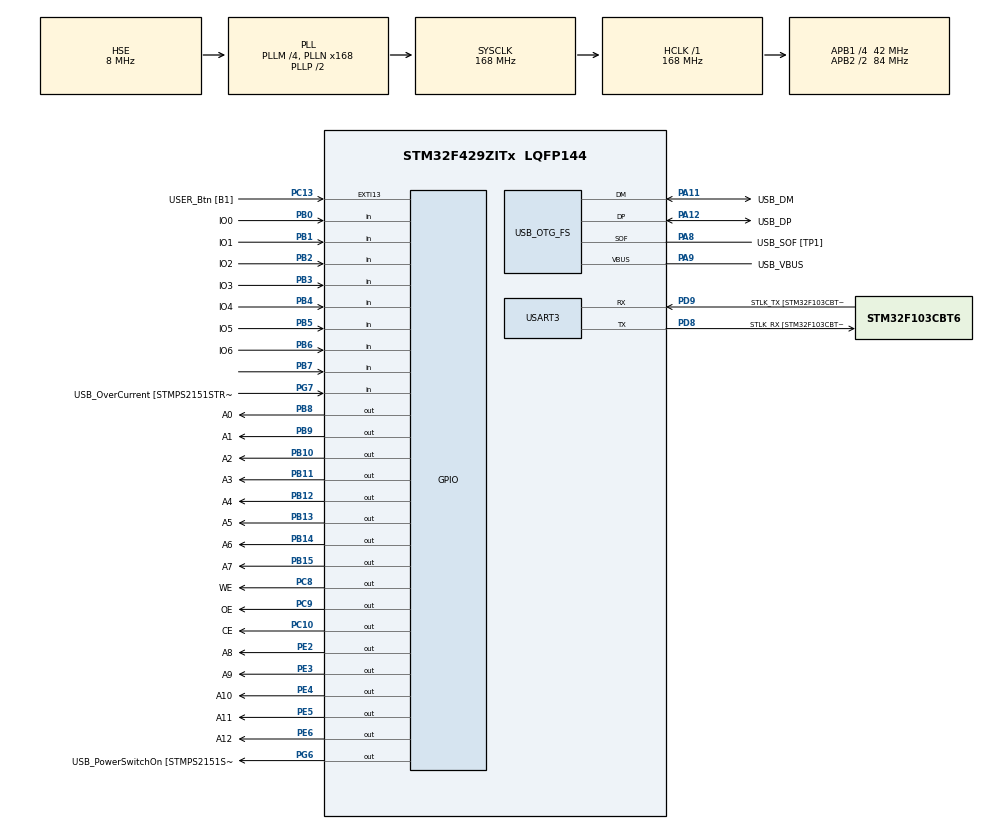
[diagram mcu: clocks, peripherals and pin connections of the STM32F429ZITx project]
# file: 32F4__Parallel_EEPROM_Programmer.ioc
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Mcu.Family=STM32F4
Mcu.Name=STM32F429ZITx
Mcu.Package=LQFP144
NVIC.PriorityGroup=NVIC_PRIORITYGROUP_4
NVIC.USART3_IRQn=true\:0\:0\:false\:true\:true\:1\:true\:true
PA1.GPIO_Label=RMII_REF_CLK [LAN8742A-CZ-TR_REFCLK0]
PA1.Signal=ETH_REF_CLK
PA10.GPIO_Label=USB_ID
PA10.Signal=USB_OTG_FS_ID
PA11.GPIO_Label=USB_DM
PA11.Mode=Device_Only
PA11.Signal=USB_OTG_FS_DM
PA12.GPIO_Label=USB_DP
PA12.Mode=Device_Only
PA12.Signal=USB_OTG_FS_DP
PA13.GPIO_Label=TMS
PA13.Mode=Serial_Wire
PA13.Signal=SYS_JTMS-SWDIO
PA14.GPIO_Label=TCK
PA14.Mode=Serial_Wire
PA14.Signal=SYS_JTCK-SWCLK
PA2.GPIO_Label=RMII_MDIO [LAN8742A-CZ-TR_MDIO]
PA2.Signal=ETH_MDIO
PA7.GPIO_Label=RMII_CRS_DV [LAN8742A-CZ-TR_CRS_DV]
PA7.Signal=ETH_CRS_DV
PA8.GPIO_Label=USB_SOF [TP1]
PA8.Mode=Activate_SOF_FS
PA8.Signal=USB_OTG_FS_SOF
PA9.GPIO_Label=USB_VBUS
PA9.Mode=Activate_VBUS
PA9.Signal=USB_OTG_FS_VBUS
PB0.GPIO_Label=IO0
PB0.Signal=GPIO_Input
PB1.GPIO_Label=IO1
PB1.Signal=GPIO_Input
PB10.GPIO_Label=A2
PB10.Signal=GPIO_Output
PB11.GPIO_Label=A3
PB11.Signal=GPIO_Output
PB12.GPIO_Label=A4
PB12.Signal=GPIO_Output
PB13.GPIO_Label=A5
PB13.Signal=GPIO_Output
PB14.GPIO_Label=A6
PB14.Signal=GPIO_Output
PB15.GPIO_Label=A7
PB15.Signal=GPIO_Output
PB2/BOOT1.GPIO_Label=IO2
PB2/BOOT1.Signal=GPIO_Input
PB3.GPIO_Label=IO3
PB3.Signal=GPIO_Input
PB4.GPIO_Label=IO4
PB4.Signal=GPIO_Input
PB5.GPIO_Label=IO5
PB5.Signal=GPIO_Input
PB6.GPIO_Label=IO6
PB6.Signal=GPIO_Input
PB7.Signal=GPIO_Input
PB8.GPIO_Label=A0
PB8.Signal=GPIO_Output
PB9.GPIO_Label=A1
PB9.Signal=GPIO_Output
PC1.GPIO_Label=RMII_MDC [LAN8742A-CZ-TR_MDC]
PC1.Signal=ETH_MDC
PC10.GPIO_Label=CE
PC10.PinState=GPIO_PIN_SET
PC10.Signal=GPIO_Output
PC13.GPIO_Label=USER_Btn [B1]
PC13.Signal=GPXTI13
PC14/OSC32_IN.Mode=LSE-External-Oscillator
PC14/OSC32_IN.Signal=RCC_OSC32_IN
PC15/OSC32_OUT.Mode=LSE-External-Oscillator
PC15/OSC32_OUT.Signal=RCC_OSC32_OUT
PC4.GPIO_Label=RMII_RXD0 [LAN8742A-CZ-TR_RXD0]
PC4.Signal=ETH_RXD0
PC5.GPIO_Label=RMII_RXD1 [LAN8742A-CZ-TR_RXD1]
PC5.Signal=ETH_RXD1
PC8.GPIO_Label=WE
PC8.PinState=GPIO_PIN_SET
PC8.Signal=GPIO_Output
PC9.GPIO_Label=OE
PC9.PinState=GPIO_PIN_SET
PC9.Signal=GPIO_Output
PD8.GPIO_Label=STLK_RX [STM32F103CBT6_PA3]
PD8.Mode=Asynchronous
PD8.Signal=USART3_TX
PD9.GPIO_Label=STLK_TX [STM32F103CBT6_PA2]
PD9.Mode=Asynchronous
PD9.Signal=USART3_RX
PE2.GPIO_Label=A8
PE2.Signal=GPIO_Output
PE3.GPIO_Label=A9
PE3.Signal=GPIO_Output
PE4.GPIO_Label=A10
PE4.Signal=GPIO_Output
PE5.GPIO_Label=A11
PE5.Signal=GPIO_Output
PE6.GPIO_Label=A12
PE6.Signal=GPIO_Output
PG11.GPIO_Label=RMII_TX_EN [LAN8742A-CZ-TR_TXEN]
PG11.Signal=ETH_TX_EN
PG13.GPIO_Label=RMII_TXD0 [LAN8742A-CZ-TR_TXD0]
PG13.Signal=ETH_TXD0
PG6.GPIO_Label=USB_PowerSwitchOn [STMPS2151STR_EN]
PG6.Signal=GPIO_Output
PG7.GPIO_Label=USB_OverCurrent [STMPS2151STR_FAULT]
PG7.Signal=GPIO_Input
PH0/OSC_IN.GPIO_Label=MCO [STM32F103CBT6_PA8]
PH0/OSC_IN.Mode=HSE-External-Clock-Source
PH0/OSC_IN.Signal=RCC_OSC_IN
PH1/OSC_OUT.Mode=HSE-External-Clock-Source
PH1/OSC_OUT.Signal=RCC_OSC_OUT
ProjectManager.HeapSize=0x200
ProjectManager.StackSize=0x400
ProjectManager.TargetToolchain=STM32CubeIDE
RCC.48MHZClocksFreq_Value=48000000
RCC.AHBFreq_Value=168000000
RCC.APB1CLKDivider=RCC_HCLK_DIV4
RCC.APB1Freq_Value=42000000
RCC.APB1TimFreq_Value=84000000
RCC.APB2CLKDivider=RCC_HCLK_DIV2
RCC.APB2Freq_Value=84000000
RCC.APB2TimCLKDivider=2
RCC.APB2TimFreq_Value=168000000
RCC.CortexFreq_Value=168000000
RCC.HCLKFreq_Value=168000000
RCC.HSE_VALUE=8000000
RCC.HSI_VALUE=16000000
RCC.PLLM=4
RCC.PLLMUL=RCC_PLL_MUL9
RCC.PLLN=168
RCC.PLLQ=7
RCC.PRESCALERUSB=RCC_USBCLKSOURCE_PLL_DIV1_5
RCC.SYSCLKFreq_VALUE=168000000
RCC.SYSCLKSource=RCC_SYSCLKSOURCE_PLLCLK
RCC.SYSCLKSourceVirtual=RCC_SYSCLKSOURCE_PLLCLK
RCC.USBFreq_Value=48000000
RCC.VCOOutputFreq_Value=336000000
TIM14.Prescaler=83
USART3.VirtualMode=VM_ASYNC
USB_OTG_FS.VirtualMode=Device_Only
VP_TIM14_VS_ClockSourceINT.Mode=Enable_Timer
board=NUCLEO-F429ZI

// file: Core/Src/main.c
/* USER CODE BEGIN Header */
/**
  ******************************************************************************
  * @file           : main.c
  * @brief          : Main program body
  ******************************************************************************
  * @attention
  *
  * <h2><center>&copy; Copyright (c) 2021 STMicroelectronics.
  * All rights reserved.</center></h2>
  *
  * This software component is licensed by ST under BSD 3-Clause license,
  * the "License"; You may not use this file except in compliance with the
  * License. You may obtain a copy of the License at:
  *                        opensource.org/licenses/BSD-3-Clause
  *
  ******************************************************************************
  */
/* USER CODE END Header */
#include "main.h"

/* USER CODE BEGIN Includes */
#include <stdio.h>
#include <string.h>
#include <inttypes.h>
#include "values.h"

/* USER CODE END Includes */

/* USER CODE BEGIN PTD */
#ifdef __GNUC__
#define PUTCHAR_PROTOTYPE int __io_putchar(int ch)
#define GETCHAR_PROTOTYPE int __io_getchar(void)
/* With GCC, small printf (option LD Linker->Libraries->Small printf
   set to 'Yes') calls __io_putchar() */
#else
#define PUTCHAR_PROTOTYPE int fputc(int ch, FILE *f)
#define GETCHAR_PROTOTYPE int getc(FILE *f)
#endif /* __GNUC__ */
/* USER CODE END PTD */

TIM_HandleTypeDef htim14;

UART_HandleTypeDef huart3;

PCD_HandleTypeDef hpcd_USB_OTG_FS;

void SystemClock_Config(void);
static void MX_GPIO_Init(void);
static void MX_USART3_UART_Init(void);
static void MX_USB_OTG_FS_PCD_Init(void);
static void MX_TIM14_Init(void);
static void MX_NVIC_Init(void);
/* USER CODE BEGIN PFP */
void delay(unsigned int delay);
void write(uint16_t address, uint8_t data);
uint8_t read(uint16_t address);

volatile uint32_t buf = 0;
volatile uint8_t flag = 0;
/* USER CODE END PFP */

/* USER CODE BEGIN 0 */
int delayconst = 200;
uint8_t poll = 0;

/* USER CODE END 0 */

int main(void)
{

  /* MCU Configuration--------------------------------------------------------*/

  /* Reset of all peripherals, Initializes the Flash interface and the Systick. */
  HAL_Init();

  /* Configure the system clock */
  SystemClock_Config();

  /* Initialize all configured peripherals */
  MX_GPIO_Init();
  MX_USART3_UART_Init();
  MX_USB_OTG_FS_PCD_Init();
  MX_TIM14_Init();

  /* Initialize interrupts */
  MX_NVIC_Init();
  /* USER CODE BEGIN 2 */
  int limit =sizeof(values)/sizeof(uint8_t);//number of bytes to be written
  setvbuf(stdin, NULL, _IONBF, 0);//disable buffers on stdin and stdout
  setvbuf(stdout, NULL, _IONBF, 0);
  __HAL_UART_ENABLE_IT(&huart3, UART_IT_RXNE);//enable receive interrupt
  //
  /* USER CODE END 2 */

  /* Infinite loop */
  /* USER CODE BEGIN WHILE */
  HAL_TIM_Base_Init(&htim14);

  HAL_TIM_Base_Start(&htim14);

  /*
   * 28C64B programmer, 8192 addresses 0-8191
   * PB[0-7] -> IO[1-8]
   * PB[8-15] -> A[0-7]
   * PE[2-6] -> A[8-12]
   * PC8 -> WE
   * PC9 -> OE
   * PC10 -> CE high by default
   * TIM14 configured with a prescaler of 167 for 1uS delays
   */
  while (1)
  {
		uint8_t data;
		uint8_t but = 0;
		int errors = 0;

		printf("Press user button to program EEPROM\n");
		while (but == 0) {//wait for button press
			but = HAL_GPIO_ReadPin(USER_Btn_GPIO_Port, USER_Btn_Pin);
		}
		but = 0;

		printf("Programming EEPROM\n");

		uint32_t time = HAL_GetTick();
		for (uint16_t address = 0; address < limit; ++address) {
			write(address, values[address]);//write data read from the values array
		}

		time = (HAL_GetTick() - time) / 1000;
		printf("EEPROM programmed, operation took %u seconds. Verify?\n\r",(unsigned int) time);

		while (but == 0) {
			but = HAL_GPIO_ReadPin(USER_Btn_GPIO_Port, USER_Btn_Pin);//wait for button plress
		}
		but = 0;

		for (int address = 0; address < limit; ++address) {
			data = read(address);
			if (data != values[address]) {//read from EEPROM and compare
				++errors;
				printf("Found error at %X. Expected %X, got %X\n\r", address, values[address], data);
			}
		}
		printf("Found %i errors, written %i bytes. Waiting for button.", errors,
				limit);
		while (but == 0) {
			but = HAL_GPIO_ReadPin(USER_Btn_GPIO_Port, USER_Btn_Pin);
		}
		but = 0;
	}

    /* USER CODE END WHILE */

}

void SystemClock_Config(void)
{
  RCC_OscInitTypeDef RCC_OscInitStruct = {0};
  RCC_ClkInitTypeDef RCC_ClkInitStruct = {0};

  /** Configure the main internal regulator output voltage
  */
  __HAL_RCC_PWR_CLK_ENABLE();
  __HAL_PWR_VOLTAGESCALING_CONFIG(PWR_REGULATOR_VOLTAGE_SCALE1);
  /** Initializes the RCC Oscillators according to the specified parameters
  * in the RCC_OscInitTypeDef structure.
  */
  RCC_OscInitStruct.OscillatorType = RCC_OSCILLATORTYPE_HSE;
  RCC_OscInitStruct.HSEState = RCC_HSE_BYPASS;
  RCC_OscInitStruct.PLL.PLLState = RCC_PLL_ON;
  RCC_OscInitStruct.PLL.PLLSource = RCC_PLLSOURCE_HSE;
  RCC_OscInitStruct.PLL.PLLM = 4;
  RCC_OscInitStruct.PLL.PLLN = 168;
  RCC_OscInitStruct.PLL.PLLP = RCC_PLLP_DIV2;
  RCC_OscInitStruct.PLL.PLLQ = 7;
  if (HAL_RCC_OscConfig(&RCC_OscInitStruct) != HAL_OK)
  {
    Error_Handler();
  }
  /** Initializes the CPU, AHB and APB buses clocks
  */
  RCC_ClkInitStruct.ClockType = RCC_CLOCKTYPE_HCLK|RCC_CLOCKTYPE_SYSCLK
                              |RCC_CLOCKTYPE_PCLK1|RCC_CLOCKTYPE_PCLK2;
  RCC_ClkInitStruct.SYSCLKSource = RCC_SYSCLKSOURCE_PLLCLK;
  RCC_ClkInitStruct.AHBCLKDivider = RCC_SYSCLK_DIV1;
  RCC_ClkInitStruct.APB1CLKDivider = RCC_HCLK_DIV4;
  RCC_ClkInitStruct.APB2CLKDivider = RCC_HCLK_DIV2;

  if (HAL_RCC_ClockConfig(&RCC_ClkInitStruct, FLASH_LATENCY_5) != HAL_OK)
  {
    Error_Handler();
  }
}

/**
  * @brief NVIC Configuration.
  * @retval None
  */
static void MX_NVIC_Init(void)
{
  /* USART3_IRQn interrupt configuration */
  HAL_NVIC_SetPriority(USART3_IRQn, 0, 0);
  HAL_NVIC_EnableIRQ(USART3_IRQn);
}

static void MX_TIM14_Init(void)
{

  htim14.Instance = TIM14;
  htim14.Init.Prescaler = 83;
  htim14.Init.CounterMode = TIM_COUNTERMODE_UP;
  htim14.Init.Period = 65535;
  htim14.Init.ClockDivision = TIM_CLOCKDIVISION_DIV1;
  htim14.Init.AutoReloadPreload = TIM_AUTORELOAD_PRELOAD_DISABLE;
  if (HAL_TIM_Base_Init(&htim14) != HAL_OK)
  {
    Error_Handler();
  }

}

static void MX_USART3_UART_Init(void)
{

  huart3.Instance = USART3;
  huart3.Init.BaudRate = 115200;
  huart3.Init.WordLength = UART_WORDLENGTH_8B;
  huart3.Init.StopBits = UART_STOPBITS_1;
  huart3.Init.Parity = UART_PARITY_NONE;
  huart3.Init.Mode = UART_MODE_TX_RX;
  huart3.Init.HwFlowCtl = UART_HWCONTROL_NONE;
  huart3.Init.OverSampling = UART_OVERSAMPLING_16;
  if (HAL_UART_Init(&huart3) != HAL_OK)
  {
    Error_Handler();
  }

}

static void MX_USB_OTG_FS_PCD_Init(void)
{

  hpcd_USB_OTG_FS.Instance = USB_OTG_FS;
  hpcd_USB_OTG_FS.Init.dev_endpoints = 4;
  hpcd_USB_OTG_FS.Init.speed = PCD_SPEED_FULL;
  hpcd_USB_OTG_FS.Init.dma_enable = DISABLE;
  hpcd_USB_OTG_FS.Init.phy_itface = PCD_PHY_EMBEDDED;
  hpcd_USB_OTG_FS.Init.Sof_enable = ENABLE;
  hpcd_USB_OTG_FS.Init.low_power_enable = DISABLE;
  hpcd_USB_OTG_FS.Init.lpm_enable = DISABLE;
  hpcd_USB_OTG_FS.Init.vbus_sensing_enable = ENABLE;
  hpcd_USB_OTG_FS.Init.use_dedicated_ep1 = DISABLE;
  if (HAL_PCD_Init(&hpcd_USB_OTG_FS) != HAL_OK)
  {
    Error_Handler();
  }

}

static void MX_GPIO_Init(void)
{
  GPIO_InitTypeDef GPIO_InitStruct = {0};

  /* GPIO Ports Clock Enable */
  __HAL_RCC_GPIOE_CLK_ENABLE();
  __HAL_RCC_GPIOC_CLK_ENABLE();
  __HAL_RCC_GPIOH_CLK_ENABLE();
  __HAL_RCC_GPIOA_CLK_ENABLE();
  __HAL_RCC_GPIOB_CLK_ENABLE();
  __HAL_RCC_GPIOD_CLK_ENABLE();
  __HAL_RCC_GPIOG_CLK_ENABLE();

  /*Configure GPIO pin Output Level */
  HAL_GPIO_WritePin(GPIOE, A8_Pin|A9_Pin|A10_Pin|A11_Pin
                          |A12_Pin, GPIO_PIN_RESET);

  /*Configure GPIO pin Output Level */
  HAL_GPIO_WritePin(GPIOB, A2_Pin|A3_Pin|A4_Pin|A5_Pin
                          |A6_Pin|A7_Pin|A0_Pin|A1_Pin, GPIO_PIN_RESET);

  /*Configure GPIO pin Output Level */
  HAL_GPIO_WritePin(USB_PowerSwitchOn_GPIO_Port, USB_PowerSwitchOn_Pin, GPIO_PIN_RESET);

  /*Configure GPIO pin Output Level */
  HAL_GPIO_WritePin(GPIOC, WE_Pin|OE_Pin|CE_Pin, GPIO_PIN_SET);

  /*Configure GPIO pins : A8_Pin A9_Pin A10_Pin A11_Pin
                           A12_Pin */
  GPIO_InitStruct.Pin = A8_Pin|A9_Pin|A10_Pin|A11_Pin
                          |A12_Pin;
  GPIO_InitStruct.Mode = GPIO_MODE_OUTPUT_PP;
  GPIO_InitStruct.Pull = GPIO_NOPULL;
  GPIO_InitStruct.Speed = GPIO_SPEED_FREQ_LOW;
  HAL_GPIO_Init(GPIOE, &GPIO_InitStruct);

  /*Configure GPIO pin : USER_Btn_Pin */
  GPIO_InitStruct.Pin = USER_Btn_Pin;
  GPIO_InitStruct.Mode = GPIO_MODE_IT_RISING;
  GPIO_InitStruct.Pull = GPIO_NOPULL;
  HAL_GPIO_Init(USER_Btn_GPIO_Port, &GPIO_InitStruct);

  /*Configure GPIO pins : RMII_MDC_Pin RMII_RXD0_Pin RMII_RXD1_Pin */
  GPIO_InitStruct.Pin = RMII_MDC_Pin|RMII_RXD0_Pin|RMII_RXD1_Pin;
  GPIO_InitStruct.Mode = GPIO_MODE_AF_PP;
  GPIO_InitStruct.Pull = GPIO_NOPULL;
  GPIO_InitStruct.Speed = GPIO_SPEED_FREQ_VERY_HIGH;
  GPIO_InitStruct.Alternate = GPIO_AF11_ETH;
  HAL_GPIO_Init(GPIOC, &GPIO_InitStruct);

  /*Configure GPIO pins : RMII_REF_CLK_Pin RMII_MDIO_Pin RMII_CRS_DV_Pin */
  GPIO_InitStruct.Pin = RMII_REF_CLK_Pin|RMII_MDIO_Pin|RMII_CRS_DV_Pin;
  GPIO_InitStruct.Mode = GPIO_MODE_AF_PP;
  GPIO_InitStruct.Pull = GPIO_NOPULL;
  GPIO_InitStruct.Speed = GPIO_SPEED_FREQ_VERY_HIGH;
  GPIO_InitStruct.Alternate = GPIO_AF11_ETH;
  HAL_GPIO_Init(GPIOA, &GPIO_InitStruct);

  /*Configure GPIO pins : IO0_Pin IO1_Pin IO2_Pin IO3_Pin
                           IO4_Pin IO5_Pin IO6_Pin PB7 */
  GPIO_InitStruct.Pin = IO0_Pin|IO1_Pin|IO2_Pin|IO3_Pin
                          |IO4_Pin|IO5_Pin|IO6_Pin|GPIO_PIN_7;
  GPIO_InitStruct.Mode = GPIO_MODE_INPUT;
  GPIO_InitStruct.Pull = GPIO_NOPULL;
  HAL_GPIO_Init(GPIOB, &GPIO_InitStruct);

  /*Configure GPIO pins : A2_Pin A3_Pin A4_Pin A5_Pin
                           A6_Pin A7_Pin A0_Pin A1_Pin */
  GPIO_InitStruct.Pin = A2_Pin|A3_Pin|A4_Pin|A5_Pin
                          |A6_Pin|A7_Pin|A0_Pin|A1_Pin;
  GPIO_InitStruct.Mode = GPIO_MODE_OUTPUT_PP;
  GPIO_InitStruct.Pull = GPIO_NOPULL;
  GPIO_InitStruct.Speed = GPIO_SPEED_FREQ_LOW;
  HAL_GPIO_Init(GPIOB, &GPIO_InitStruct);

  /*Configure GPIO pin : USB_PowerSwitchOn_Pin */
  GPIO_InitStruct.Pin = USB_PowerSwitchOn_Pin;
  GPIO_InitStruct.Mode = GPIO_MODE_OUTPUT_PP;
  GPIO_InitStruct.Pull = GPIO_NOPULL;
  GPIO_InitStruct.Speed = GPIO_SPEED_FREQ_LOW;
  HAL_GPIO_Init(USB_PowerSwitchOn_GPIO_Port, &GPIO_InitStruct);

  /*Configure GPIO pin : USB_OverCurrent_Pin */
  GPIO_InitStruct.Pin = USB_OverCurrent_Pin;
  GPIO_InitStruct.Mode = GPIO_MODE_INPUT;
  GPIO_InitStruct.Pull = GPIO_NOPULL;
  HAL_GPIO_Init(USB_OverCurrent_GPIO_Port, &GPIO_InitStruct);

  /*Configure GPIO pins : WE_Pin OE_Pin CE_Pin */
  GPIO_InitStruct.Pin = WE_Pin|OE_Pin|CE_Pin;
  GPIO_InitStruct.Mode = GPIO_MODE_OUTPUT_PP;
  GPIO_InitStruct.Pull = GPIO_NOPULL;
  GPIO_InitStruct.Speed = GPIO_SPEED_FREQ_LOW;
  HAL_GPIO_Init(GPIOC, &GPIO_InitStruct);

  /*Configure GPIO pins : RMII_TX_EN_Pin RMII_TXD0_Pin */
  GPIO_InitStruct.Pin = RMII_TX_EN_Pin|RMII_TXD0_Pin;
  GPIO_InitStruct.Mode = GPIO_MODE_AF_PP;
  GPIO_InitStruct.Pull = GPIO_NOPULL;
  GPIO_InitStruct.Speed = GPIO_SPEED_FREQ_VERY_HIGH;
  GPIO_InitStruct.Alternate = GPIO_AF11_ETH;
  HAL_GPIO_Init(GPIOG, &GPIO_InitStruct);

}

/* USER CODE BEGIN 4 */
void write(uint16_t address, uint8_t data){
	GPIOB->MODER = (GPIOB->MODER & ~0xFFFF) | 0b0101010101010101; //make PB0-7 outputs

	GPIOB->ODR = (GPIOB->ODR & ~(0xFFFF)) | ((address & 0xFF) << 8); //first 8 address bits to PB8-15, data to pb-7
	GPIOE->ODR = (GPIOE->ODR & ~(0b11111 << 2)) | ((address & 0x1F00) >> 6); //upper 5 address bits to pe2-6
	HAL_GPIO_WritePin(GPIOC, CE_Pin, GPIO_PIN_RESET); //enable CE after address and data are set
	HAL_GPIO_WritePin(GPIOC, OE_Pin, GPIO_PIN_SET); //disable WE before writing addresses+data
	HAL_GPIO_WritePin(GPIOC, WE_Pin, GPIO_PIN_SET); //disable OE before writing data

	GPIOB->ODR |= data; //push data out

	for (volatile int i = 0; i != delayconst; i++); //"1us" delay
	HAL_GPIO_WritePin(GPIOC, WE_Pin, GPIO_PIN_RESET);

	for (volatile int i = 0; i != delayconst; i++); //"1us" delay

	HAL_GPIO_WritePin(GPIOC, WE_Pin, GPIO_PIN_SET);

	for (volatile int i = 0; i != delayconst; i++); //"1us" delay

	GPIOB->MODER &= ~0xFFFF;//make PB[0-7] inputs
	HAL_GPIO_WritePin(GPIOC, CE_Pin, GPIO_PIN_SET);
	while (!poll) {//check IO7 to see if the write cycle has ended
		HAL_GPIO_WritePin(GPIOC, CE_Pin, GPIO_PIN_RESET);
		HAL_GPIO_WritePin(GPIOC, OE_Pin, GPIO_PIN_RESET);
		if ((GPIOB->IDR & 0x80) == (data & 0x80)) {
			poll = 1;
		}
		HAL_GPIO_WritePin(GPIOC, CE_Pin, GPIO_PIN_SET);
		HAL_GPIO_WritePin(GPIOC, OE_Pin, GPIO_PIN_SET);
	}
	poll = 0;

}
uint8_t read(uint16_t address){
	uint8_t retval;
	GPIOB->MODER &= ~0xFFFF; //make PB0-7 inputs by setting first 16 bits of MODER to 0
	HAL_GPIO_WritePin(GPIOC, OE_Pin, GPIO_PIN_RESET); //chip in standby but prepared for read mode
	HAL_GPIO_WritePin(GPIOC, WE_Pin, GPIO_PIN_SET);
	HAL_GPIO_WritePin(GPIOC, CE_Pin, GPIO_PIN_SET);

	GPIOB->ODR = (GPIOB->ODR & ~(0xFF << 8)) | ((address & 0xFF) << 8); //first 8 address bits to PB8-15
	GPIOE->ODR = (GPIOE->ODR & ~(0b11111 << 2))| ((address & 0x1F00) >> 6); //upper 5 address bits to pe2-6

	for (volatile int i = 0; i != delayconst; i++) //"1us" delay
	HAL_GPIO_WritePin(GPIOC, CE_Pin, GPIO_PIN_RESET); //activate chip and read data
	for (volatile int i = 0; i != delayconst; i++); //"1us" delay
	retval = (GPIOB->IDR & 0xFF);
	HAL_GPIO_WritePin(GPIOC, CE_Pin, GPIO_PIN_SET);
	for (volatile int i = 0; i != delayconst; i++); //"1us" delay
	return retval;
}

void delay(unsigned int delay){
		__HAL_TIM_SET_COUNTER(&htim14,0);  // set the counter value a 0
		while (__HAL_TIM_GET_COUNTER(&htim14) < delay);  // wait for the counter to reach the us input in the parameter
}

PUTCHAR_PROTOTYPE
{
  HAL_UART_Transmit(&huart3, (uint8_t *)&ch, 1, 1000);
  return ch;
}

GETCHAR_PROTOTYPE
{
  int ch = 0;
  __HAL_UART_CLEAR_OREFLAG(&huart3);
  HAL_UART_Receive(&huart3, (uint8_t *)&ch, 1, 1000);
  HAL_UART_Transmit(&huart3, (uint8_t *)&ch, 1, 1000);
  return ch;
}
/* USER CODE END 4 */

void Error_Handler(void)
{
  __disable_irq();
  while (1)
  {
  }
}

/************************ (C) COPYRIGHT STMicroelectronics *****END OF FILE****/
